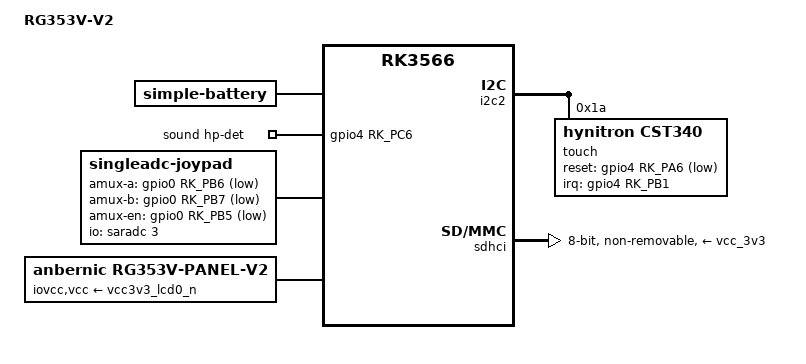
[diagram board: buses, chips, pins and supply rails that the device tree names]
// SPDX-License-Identifier: (GPL-2.0+ OR MIT)

/dts-v1/;

#include <dt-bindings/gpio/gpio.h>
#include <dt-bindings/input/linux-event-codes.h>
#include <dt-bindings/pinctrl/rockchip.h>
#include "rockchip/rk3566-anbernic-rg353x.dtsi"

/ {
	model = "RG353V-V2";
	compatible = "anbernic,rg353v", "rockchip,rk3566";

	aliases {
		mmc0 = &sdhci;
		mmc1 = &sdmmc0;
		mmc2 = &sdmmc1;
		mmc3 = &sdmmc2;
	};

	battery: battery {
		compatible = "simple-battery";
		charge-full-design-microamp-hours = <3151000>;
		charge-term-current-microamp = <300000>;
		constant-charge-current-max-microamp = <2000000>;
		constant-charge-voltage-max-microvolt = <4200000>;
		factory-internal-resistance-micro-ohms = <117000>;
		voltage-max-design-microvolt = <4172000>;
		voltage-min-design-microvolt = <3400000>;

		ocv-capacity-celsius = <20>;
		ocv-capacity-table-0 =  <4172000 100>, <4054000 95>, <3984000 90>, <3926000 85>,
					<3874000 80>, <3826000 75>, <3783000 70>, <3746000 65>,
					<3714000 60>, <3683000 55>, <3650000 50>, <3628000 45>,
					<3612000 40>, <3600000 35>, <3587000 30>, <3571000 25>,
					<3552000 20>, <3525000 15>, <3492000 10>, <3446000 5>,
					<3400000 0>;
	};

	/* Channels reversed for headphones. */
	sound {
		compatible = "simple-audio-card";
		simple-audio-card,name = "rk817_int";
		simple-audio-card,format = "i2s";
		simple-audio-card,hp-det-gpio = <&gpio4 RK_PC6 GPIO_ACTIVE_HIGH>;
		simple-audio-card,mclk-fs = <256>;
		simple-audio-card,widgets =
			"Microphone", "Mic Jack",
			"Headphone", "Headphones",
			"Speaker", "Internal Speakers";
		simple-audio-card,routing =
			"MICL", "Mic Jack",
			"Headphones", "HPOL",
			"Headphones", "HPOR",
			"Internal Speakers", "SPKO";

		simple-audio-card,codec {
			sound-dai = <&rk817>;
		};

		simple-audio-card,cpu {
			sound-dai = <&i2s1_8ch>;
		};
	};

    joypad: singleadc-joypad {
		compatible = "singleadc-joypad";
		hw_info = <0x02>;

		joypad-name = "retrogame_joypad";
		joypad-product = <0x1101>;
		joypad-revision = <0x0100>;

		status = "okay";

		/* gpio pincontrol setup */
		pinctrl-names = "default";
		pinctrl-0 = <&btn_pins_ctrl>;

		/* Analog mux define */
		io-channel-names = "amux_adc";
		io-channels = <&saradc 3>;

		/* adc mux channel count */
		amux-count = <4>;
		/* adc mux select(a,b) gpio */
		amux-a-gpios = <&gpio0 RK_PB6 GPIO_ACTIVE_LOW>;
		amux-b-gpios = <&gpio0 RK_PB7 GPIO_ACTIVE_LOW>;
		/* adc mux enable gpio */
		amux-en-gpios = <&gpio0 RK_PB5 GPIO_ACTIVE_LOW>;

		/* adc calculate scale */
		button-adc-scale = <2>;

		/* adc deadzone range  */
		button-adc-deadzone = <64>;

		/*
		  specifies fuzz value that is used to filter noise from
		  the event stream.
		*/
		button-adc-fuzz = <32>;
		button-adc-flat = <32>;

		/*
		  Analog Stick data tuning value(precent)
		  p = positive direction, n = negative direction
		  report value = (real_adc_data * tuning_value) / 100
		*/
		abs_x-p-tuning = <245>;
		abs_x-n-tuning = <245>;

		abs_y-p-tuning = <245>;
		abs_y-n-tuning = <245>;

		abs_rx-p-tuning = <245>;
		abs_rx-n-tuning = <245>;

		abs_ry-p-tuning = <245>;
		abs_ry-n-tuning = <245>;

		/* poll device interval (ms), adc read interval */
		poll-interval = <10>;

		/* gpio button auto repeat set value : default disable */
		/*
			autorepeat;
		*/
		sw1 {
            gpios = <&gpio3 RK_PA3 GPIO_ACTIVE_LOW>;
            label = "GPIO DPAD-UP";
            linux,code = <BTN_DPAD_UP>;
		};
		sw2 {
            gpios = <&gpio3 RK_PA4 GPIO_ACTIVE_LOW>;
            label = "GPIO DPAD-DOWN";
            linux,code = <BTN_DPAD_DOWN>;
		};
		sw3 {
            gpios = <&gpio3 RK_PA6 GPIO_ACTIVE_LOW>;
            label = "GPIO DPAD-LEFT";
            linux,code = <BTN_DPAD_LEFT>;
		};
		sw4 {
            gpios = <&gpio3 RK_PA5 GPIO_ACTIVE_LOW>;
            label = "GPIO DPAD-RIGHT";
            linux,code = <BTN_DPAD_RIGHT>;
		};
		sw5 {
            gpios = <&gpio3 RK_PC3 GPIO_ACTIVE_LOW>;
            label = "GPIO KEY BTN-A";
            linux,code = <BTN_SOUTH>;
		};
		sw6 {
            gpios = <&gpio3 RK_PC2 GPIO_ACTIVE_LOW>;
            label = "GPIO BTN-B";
            linux,code = <BTN_EAST>;
		};
		sw7 {
            gpios = <&gpio3 RK_PC0 GPIO_ACTIVE_LOW>;
            label = "GPIO BTN-X";
            linux,code = <BTN_NORTH>;
		};
		sw8 {
            gpios = <&gpio3 RK_PC1 GPIO_ACTIVE_LOW>;
            label = "GPIO BTN-Y";
            linux,code = <BTN_WEST>;
		};
		sw9 {
            gpios = <&gpio3 RK_PB6 GPIO_ACTIVE_LOW>;
            label = "GPIO BTN_SELECT";
            linux,code = <BTN_SELECT>;
		};
		sw10 {
            gpios = <&gpio3 RK_PB5 GPIO_ACTIVE_LOW>;
            label = "GPIO BTN_START";
            linux,code = <BTN_START>;
		};
		sw11 {
            gpios = <&gpio3 RK_PB7 GPIO_ACTIVE_LOW>;
            label = "GPIO BTN_F";
            linux,code = <BTN_MODE>;
		};
		sw12 {
            gpios = <&gpio3 RK_PB1 GPIO_ACTIVE_LOW>;
            label = "GPIO BTN_TL";
            linux,code = <BTN_TL>;
		};
		sw13 {
            gpios = <&gpio3 RK_PB3 GPIO_ACTIVE_LOW>;
            label = "GPIO BTN_TR";
            linux,code = <BTN_TR>;
		};
		sw14 {
            gpios = <&gpio3 RK_PB2 GPIO_ACTIVE_LOW>;
            label = "GPIO BTN_TL2";
            linux,code = <BTN_TL2>;
		};
		sw15 {
            gpios = <&gpio3 RK_PB4 GPIO_ACTIVE_LOW>;
            label = "GPIO BTN_TR2";
            linux,code = <BTN_TR2>;
		};
		sw16 {
            gpios = <&gpio3 RK_PA1 GPIO_ACTIVE_LOW>;
            label = "GPIO BTN_THUMBL";
            linux,code = <BTN_THUMBL>;
		};
		sw17 {
            gpios = <&gpio3 RK_PA2 GPIO_ACTIVE_LOW>;
            label = "GPIO BTN_THUMBR";
            linux,code = <BTN_THUMBR>;
		};
	};
};

&panel {
        compatible = "anbernic,rg353v-panel-v2";
        iovcc-supply = <&vcc3v3_lcd0_n>;
        vcc-supply = <&vcc3v3_lcd0_n>;
        /delete-property/ vdd-supply;
};

&i2c2 {
	pintctrl-names = "default";
	pinctrl-0 = <&i2c2m1_xfer>;
	status = "okay";

	touch@1a {
		compatible = "hynitron,cst340";
		reg = <0x1a>;
		interrupt-parent = <&gpio4>;
		interrupts = <RK_PB1 IRQ_TYPE_EDGE_FALLING>;
		pinctrl-0 = <&touch_rst>;
		pinctrl-names = "default";
		reset-gpios = <&gpio4 RK_PA6 GPIO_ACTIVE_LOW>;
		touchscreen-size-x = <640>;
		touchscreen-size-y = <480>;
	};
};

&pinctrl {
	touch {
		touch_rst: touch-rst {
			rockchip,pins =
				<4 RK_PA6 RK_FUNC_GPIO &pcfg_pull_up>;
		};
	};
};

&rk817 {
	rk817_charger: charger {
		monitored-battery = <&battery>;
		rockchip,resistor-sense-micro-ohms = <10000>;
		rockchip,sleep-enter-current-microamp = <300000>;
		rockchip,sleep-filter-current-microamp = <100000>;
	};
};

&sdhci {
	pinctrl-0 = <&emmc_bus8>, <&emmc_clk>, <&emmc_cmd>, <&emmc_datastrobe>, <&emmc_rstnout>;
	pinctrl-names = "default";
	bus-width = <8>;
	mmc-hs200-1_8v;
	non-removable;
	vmmc-supply = <&vcc_3v3>;
	vqmmc-supply = <&vcc_1v8>;
	status = "okay";
};
